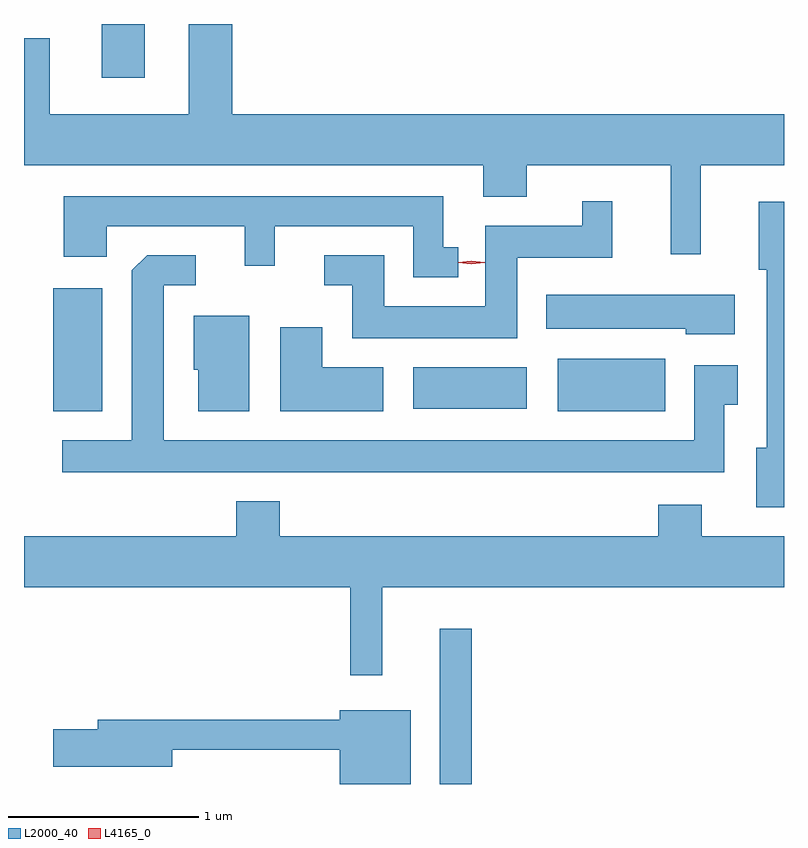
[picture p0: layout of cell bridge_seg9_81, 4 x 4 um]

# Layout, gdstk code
import gdstk
lib = gdstk.Library(unit=1e-6, precision=1e-09)
def R(c, l, rs):  # rectangles x0, y0, x1, y1
    for r in rs: c.add(gdstk.rectangle(r[:2], r[2:], *l))
def P(c, l, *ps):  # polygons
    for p in ps: c.add(gdstk.Polygon(p, *l))
L2000_40 = (2000, 40)
L4165_0 = (4165, 0)

bridge_seg9_81 = lib.new_cell('bridge_seg9_81')
R(bridge_seg9_81, L2000_40, [(1721.351,1977.46,1721.519,1978.278), (1719.316,1979.421,1719.574,1980.069), (1721.971,1979.421,1722.539,1979.699), (1721.211,1979.436,1721.809,1979.654), (1719.571,1981.176,1719.799,1981.46)])
P(bridge_seg9_81, L2000_40, [(1722.724,1980.716),(1723.163,1980.716),(1723.163,1980.984),(1720.259,1980.984),(1720.259,1981.46),(1720.031,1981.46),(1720.031,1980.984),(1719.299,1980.984),(1719.299,1981.384),(1719.163,1981.384),(1719.163,1980.716),(1721.581,1980.716),(1721.581,1980.551),(1721.809,1980.551),(1721.809,1980.716),(1722.566,1980.716),(1722.566,1980.248),(1722.724,1980.248)],
  [(1721.448,1980.284),(1721.369,1980.284),(1721.369,1980.554),(1719.371,1980.554),(1719.371,1980.236),(1719.599,1980.236),(1719.599,1980.396),(1720.326,1980.396),(1720.326,1980.188),(1720.484,1980.188),(1720.484,1980.396),(1721.211,1980.396),(1721.211,1980.126),(1721.448,1980.126)],
  [(1721.759,1980.231),(1722.259,1980.231),(1722.259,1980.528),(1722.101,1980.528),(1722.101,1980.399),(1721.591,1980.399),(1721.591,1979.974),(1721.059,1979.974),(1721.059,1980.244),(1720.743,1980.244),(1720.743,1980.086),(1720.891,1980.086),(1720.891,1979.806),(1721.759,1979.806)],
  [(1723.163,1980.524),(1723.031,1980.524),(1723.031,1980.166),(1723.071,1980.166),(1723.071,1979.229),(1723.016,1979.229),(1723.016,1978.916),(1723.163,1978.916)],
  [(1722.849,1979.456),(1722.919,1979.456),(1722.919,1979.664),(1722.691,1979.664),(1722.691,1979.269),(1719.899,1979.269),(1719.899,1980.086),(1720.068,1980.086),(1720.068,1980.244),(1719.812,1980.244),(1719.731,1980.164),(1719.731,1979.269),(1719.363,1979.269),(1719.363,1979.101),(1722.849,1979.101)],
  [(1722.904,1980.034),(1721.911,1980.034),(1721.911,1979.856),(1722.646,1979.856),(1722.646,1979.826),(1722.904,1979.826)],
  [(1720.349,1979.924),(1720.056,1979.924),(1720.056,1979.641),(1720.081,1979.641),(1720.081,1979.421),(1720.349,1979.421)],
  [(1721.054,1979.654),(1720.734,1979.654),(1720.734,1979.864),(1720.511,1979.864),(1720.511,1979.421),(1721.054,1979.421)],
  [(1721.049,1978.496),(1723.163,1978.496),(1723.163,1978.764),(1722.729,1978.764),(1722.729,1978.929),(1722.501,1978.929),(1722.501,1978.764),(1720.509,1978.764),(1720.509,1978.949),(1720.281,1978.949),(1720.281,1978.764),(1719.163,1978.764),(1719.163,1978.496),(1720.881,1978.496),(1720.881,1978.033),(1721.049,1978.033)],
  [(1721.199,1977.849),(1720.826,1977.849),(1720.826,1977.799),(1719.551,1977.799),(1719.551,1977.749),(1719.316,1977.749),(1719.316,1977.551),(1719.944,1977.551),(1719.944,1977.641),(1720.826,1977.641),(1720.826,1977.46),(1721.199,1977.46)])
P(bridge_seg9_81, L4165_0, [(1721.518,1980.195),(1721.449,1980.204),(1721.449,1980.205),(1721.449,1980.205),(1721.518,1980.215),(1721.588,1980.205),(1721.588,1980.204),(1721.588,1980.204)])

lib.write_gds('bridge_seg9_81.gds')
